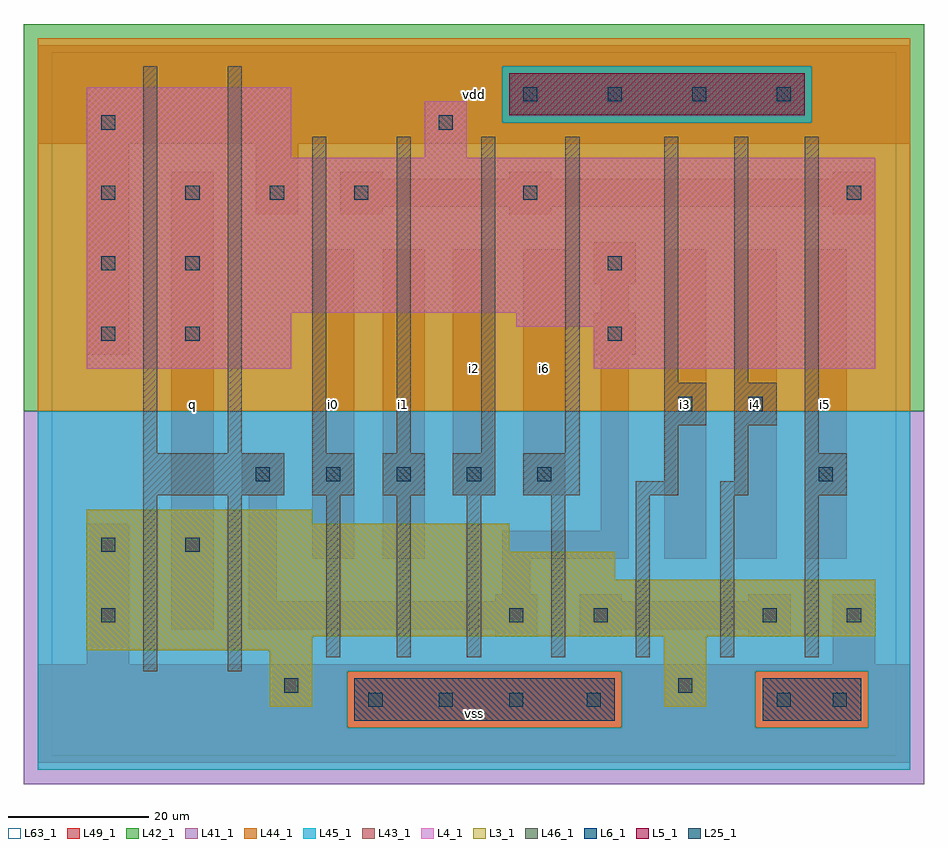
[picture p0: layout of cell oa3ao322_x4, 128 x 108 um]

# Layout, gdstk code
import gdstk
lib = gdstk.Library(unit=1e-6, precision=1e-09)
def R(c, l, rs):  # rectangles x0, y0, x1, y1
    for r in rs: c.add(gdstk.rectangle(r[:2], r[2:], *l))
def A(c, l, x, y, w, h, nx, ny, dx, dy):  # array of equal rectangles
    R(c, l, [(x+i*dx, y+j*dy, x+i*dx+w, y+j*dy+h) for i in range(nx) for j in range(ny)])
L3_1 = (3, 1)
L4_1 = (4, 1)
L5_1 = (5, 1)
L6_1 = (6, 1)
L25_1 = (25, 1)
L41_1 = (41, 1)
L42_1 = (42, 1)
L43_1 = (43, 1)
L44_1 = (44, 1)
L45_1 = (45, 1)
L46_1 = (46, 1)
L49_1 = (49, 1)
L63_1 = (63, 1)

oa3ao322_x4 = lib.new_cell('oa3ao322_x4')
R(oa3ao322_x4, L3_1, [(31,7,37,15), (87,7,93,17), (5,15,37,17), (5,17,117,25), (5,25,80,29), (5,29,65,33), (5,33,37,35)])
R(oa3ao322_x4, L4_1, [(5,55,34,63), (77,55,117,61), (66,61,117,63), (5,63,117,85), (5,85,34,95), (53,85,59,93)])
R(oa3ao322_x4, L5_1, [(65,91,107,97)])
R(oa3ao322_x4, L6_1, [(43,5,80,11), (101,5,115,11)])
A(oa3ao322_x4, L25_1, 45, 7, 2, 2, 3, 1, 10, 0)
A(oa3ao322_x4, L25_1, 29, 39, 2, 2, 5, 1, 10, 0)
A(oa3ao322_x4, L25_1, 7, 79, 2, 2, 4, 1, 12, 0)
A(oa3ao322_x4, L25_1, 67, 93, 2, 2, 4, 1, 12, 0)
R(oa3ao322_x4, L25_1, [(76,7,78,9), (103,7,105,9), (111,7,113,9), (33,9,35,11), (89,9,91,11), (7,19,9,21), (65,19,67,21), (77,19,79,21), (101,19,103,21), (113,19,115,21), (7,29,9,31), (19,29,21,31), (109,39,111,41), (89,49,91,51), (99,49,101,51), (7,59,9,61), (19,59,21,61), (79,59,81,61), (7,69,9,71), (19,69,21,71), (79,69,81,71), (67,79,69,81), (113,79,115,81), (7,89,9,91), (55,89,57,91)])
R(oa3ao322_x4, L41_1, [(-4,-4,124,49)])
R(oa3ao322_x4, L42_1, [(-4,49,124,104)])
R(oa3ao322_x4, L43_1, [(43,5,80,11), (101,5,115,11), (31,7,37,15), (87,7,93,17), (5,15,37,17), (5,17,117,25), (5,25,80,29), (5,29,65,33), (5,33,37,35), (5,55,34,63), (77,55,117,61), (66,61,117,63), (5,63,117,85), (5,85,34,95), (53,85,59,93), (65,91,107,97)])
R(oa3ao322_x4, L44_1, [(42,4,81,12), (100,4,116,12), (-2,49,122,90), (-2,90,64,98), (108,90,122,98), (-2,98,122,102)])
R(oa3ao322_x4, L45_1, [(-2,-2,122,4), (-2,4,42,12), (81,4,100,12), (116,4,122,12), (-2,12,122,49), (64,90,108,98)])
A(oa3ao322_x4, L46_1, 39, 14, 2, 23, 3, 1, 10, 0)
A(oa3ao322_x4, L46_1, 71, 14, 2, 23, 4, 1, 12, 0)
A(oa3ao322_x4, L46_1, 37, 37, 6, 6, 3, 1, 10, 0)
A(oa3ao322_x4, L46_1, 37, 43, 2, 45, 4, 1, 12, 0)
R(oa3ao322_x4, L46_1, [(13,12,15,37), (25,12,27,37), (13,37,33,43), (67,37,75,43), (83,37,89,39), (95,37,99,39), (107,37,113,43), (87,39,89,47), (97,39,99,47), (13,43,15,98), (25,43,27,98), (107,43,109,88), (87,47,93,53), (97,47,103,53), (87,53,89,88), (97,53,99,88)])
A(oa3ao322_x4, L49_1, 87, 28, 6, 44, 3, 1, 10, 0)
R(oa3ao322_x4, L49_1, [(-2,-1,122,13), (5,13,11,33), (111,13,117,23), (63,17,69,18), (75,17,81,18), (99,17,105,18), (17,18,23,83), (28,18,69,22), (75,18,105,22), (28,22,32,37), (63,22,69,23), (75,22,81,23), (99,22,105,23), (64,23,68,28), (37,28,43,72), (47,28,53,72), (64,28,82,32), (78,32,82,57), (27,37,33,43), (57,37,63,72), (67,37,73,72), (5,57,11,87), (77,57,83,63), (78,63,82,67), (77,67,83,73), (29,77,35,87), (41,77,47,78), (65,77,71,78), (111,77,117,78), (41,78,117,82), (41,82,47,83), (65,82,71,83), (111,82,117,83), (-2,87,122,101)])
R(oa3ao322_x4, L63_1, [(0,0,120,100)])
oa3ao322_x4.add(gdstk.Label('q', (20,50), layer=49, texttype=1))
oa3ao322_x4.add(gdstk.Label('q', (20,50), layer=49, texttype=1))
oa3ao322_x4.add(gdstk.Label('i0', (40,50), layer=49, texttype=1))
oa3ao322_x4.add(gdstk.Label('i0', (40,50), layer=49, texttype=1))
oa3ao322_x4.add(gdstk.Label('vss', (60,6), layer=49, texttype=1))
oa3ao322_x4.add(gdstk.Label('vss', (60,6), layer=49, texttype=1))
oa3ao322_x4.add(gdstk.Label('i1', (50,50), layer=49, texttype=1))
oa3ao322_x4.add(gdstk.Label('i1', (50,50), layer=49, texttype=1))
oa3ao322_x4.add(gdstk.Label('i6', (70,55), layer=49, texttype=1))
oa3ao322_x4.add(gdstk.Label('i2', (60,55), layer=49, texttype=1))
oa3ao322_x4.add(gdstk.Label('i6', (70,55), layer=49, texttype=1))
oa3ao322_x4.add(gdstk.Label('i2', (60,55), layer=49, texttype=1))
oa3ao322_x4.add(gdstk.Label('vdd', (60,94), layer=49, texttype=1))
oa3ao322_x4.add(gdstk.Label('vdd', (60,94), layer=49, texttype=1))
oa3ao322_x4.add(gdstk.Label('i3', (90,50), layer=49, texttype=1))
oa3ao322_x4.add(gdstk.Label('i3', (90,50), layer=49, texttype=1))
oa3ao322_x4.add(gdstk.Label('i4', (100,50), layer=49, texttype=1))
oa3ao322_x4.add(gdstk.Label('i4', (100,50), layer=49, texttype=1))
oa3ao322_x4.add(gdstk.Label('i5', (110,50), layer=49, texttype=1))
oa3ao322_x4.add(gdstk.Label('i5', (110,50), layer=49, texttype=1))

lib.write_gds('oa3ao322_x4.gds')
